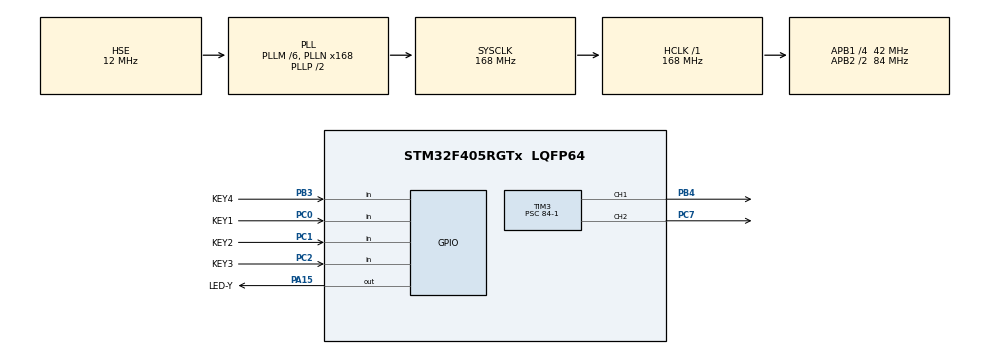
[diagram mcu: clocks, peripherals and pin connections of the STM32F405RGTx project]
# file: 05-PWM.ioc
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Mcu.Family=STM32F4
RCC.PLLSourceVirtual=RCC_PLLSOURCE_HSE
PH0-OSC_IN.Signal=RCC_OSC_IN
RCC.CortexFreq_Value=168000000
PC2.Signal=GPIO_Input
PC0.GPIO_Label=KEY1
PC0.Signal=GPIO_Input
RCC.APB1CLKDivider=RCC_HCLK_DIV4
RCC.SYSCLKSource=RCC_SYSCLKSOURCE_PLLCLK
ProjectManager.StackSize=0x400
PA13.Signal=SYS_JTMS-SWDIO
PA15.GPIO_Label=LED-Y
ProjectManager.TargetToolchain=MDK-ARM V5.27
RCC.HCLKFreq_Value=168000000
RCC.APB2TimFreq_Value=168000000
TIM3.Period=2500-1
PC7.Signal=S_TIM3_CH2
RCC.LSE_VALUE=32768
RCC.AHBFreq_Value=168000000
PH0-OSC_IN.Mode=HSE-External-Oscillator
TIM3.Channel-PWM\ Generation1\ CH1=TIM_CHANNEL_1
SH.S_TIM3_CH2.0=TIM3_CH2,PWM Generation2 CH2
RCC.HSE_VALUE=12000000
board=custom
PC1.GPIO_PuPd=GPIO_PULLUP
RCC.VCOOutputFreq_Value=336000000
NVIC.TIM3_IRQn=true\:0\:0\:false\:false\:true\:true\:true
PA15.PinState=GPIO_PIN_SET
RCC.APB2Freq_Value=84000000
PB3.GPIO_PuPd=GPIO_PULLUP
PA14.Mode=Serial_Wire
TIM3.Prescaler=84-1
PC1.GPIO_Label=KEY2
PH1-OSC_OUT.Signal=RCC_OSC_OUT
PC2.GPIO_PuPd=GPIO_PULLUP
SH.S_TIM3_CH1.0=TIM3_CH1,PWM Generation1 CH1
PA13.Mode=Serial_Wire
Mcu.Name=STM32F405RGTx
PH1-OSC_OUT.Mode=HSE-External-Oscillator
RCC.48MHZClocksFreq_Value=84000000
PB3.Signal=GPIO_Input
RCC.SYSCLKFreq_VALUE=168000000
Mcu.Package=LQFP64
PA15.GPIO_Speed=GPIO_SPEED_FREQ_HIGH
PA14.Signal=SYS_JTCK-SWCLK
PA15.Signal=GPIO_Output
ProjectManager.HeapSize=0x200
RCC.HSI_VALUE=16000000
NVIC.PriorityGroup=NVIC_PRIORITYGROUP_4
RCC.APB2CLKDivider=RCC_HCLK_DIV2
TIM3.Channel-PWM\ Generation2\ CH2=TIM_CHANNEL_2
RCC.PLLM=6
RCC.PLLN=168
PA15.GPIO_PuPd=GPIO_PULLDOWN
RCC.APB1TimFreq_Value=84000000
PC0.GPIO_PuPd=GPIO_PULLUP
RCC.APB1Freq_Value=42000000
PC2.GPIO_Label=KEY3
VP_TIM3_VS_ClockSourceINT.Mode=Internal
PC1.Signal=GPIO_Input
PB4.Signal=S_TIM3_CH1
PB3.GPIO_Label=KEY4

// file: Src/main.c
/* USER CODE BEGIN Header */
/**
  ******************************************************************************
  * @file           : main.c
  * @brief          : Main program body
  ******************************************************************************
  * @attention
  *
  * <h2><center>&copy; Copyright (c) 2020 STMicroelectronics.
  * All rights reserved.</center></h2>
  *
  * This software component is licensed by ST under BSD 3-Clause license,
  * the "License"; You may not use this file except in compliance with the
  * License. You may obtain a copy of the License at:
  *                        opensource.org/licenses/BSD-3-Clause
  *
  ******************************************************************************
  */
/* USER CODE END Header */

#include "main.h"
#include "tim.h"
#include "gpio.h"

void SystemClock_Config(void);

/* USER CODE BEGIN 0 */
void HAL_TIM_PeriodElapsedCallback(TIM_HandleTypeDef *htim)
{
	if(htim == &htim3)
		HAL_GPIO_TogglePin(LED_Y_GPIO_Port,LED_Y_Pin);
}
/* USER CODE END 0 */

int main(void)
{
  /* USER CODE BEGIN 1 */
	uint16_t pwm_led = 500;
	uint16_t pwm_servo = 500;
  /* USER CODE END 1 */

  /* MCU Configuration--------------------------------------------------------*/

  /* Reset of all peripherals, Initializes the Flash interface and the Systick. */
  HAL_Init();

  /* Configure the system clock */
  SystemClock_Config();

  /* Initialize all configured peripherals */
  MX_GPIO_Init();
  MX_TIM3_Init();
  /* USER CODE BEGIN 2 */
	HAL_TIM_Base_Start_IT(&htim3);
	HAL_TIM_PWM_Start(&htim3, TIM_CHANNEL_1);
	HAL_TIM_PWM_Start(&htim3, TIM_CHANNEL_2);
  /* USER CODE END 2 */

  /* Infinite loop */
  /* USER CODE BEGIN WHILE */
  while (1)
  {
		//LED灯光调节
		if(HAL_GPIO_ReadPin(KEY1_GPIO_Port,KEY1_Pin) == 0)
		{
			HAL_Delay(20);
			if(HAL_GPIO_ReadPin(KEY1_GPIO_Port,KEY1_Pin) == 0)
			{
				if(pwm_led < 2500)
					pwm_led += 100;
			}
		}
		if(HAL_GPIO_ReadPin(KEY2_GPIO_Port,KEY2_Pin) == 0)
		{
			HAL_Delay(20);
			if(HAL_GPIO_ReadPin(KEY2_GPIO_Port,KEY2_Pin) == 0)
			{
				if(pwm_led > 0)
					pwm_led -= 100;
			}
		}
		//舵机调节
		if(HAL_GPIO_ReadPin(KEY3_GPIO_Port,KEY3_Pin) == 0)
		{
			HAL_Delay(20);
			if(HAL_GPIO_ReadPin(KEY3_GPIO_Port,KEY3_Pin) == 0)
			{
				if(pwm_servo < 2500)
					pwm_servo += 100;
			}
		}
		if(HAL_GPIO_ReadPin(KEY4_GPIO_Port,KEY4_Pin) == 0)
		{
			HAL_Delay(20);
			if(HAL_GPIO_ReadPin(KEY4_GPIO_Port,KEY4_Pin) == 0)
			{
				if(pwm_servo > 0)
					pwm_servo -= 100;
			}
		}
    /* USER CODE END WHILE */

    /* USER CODE BEGIN 3 */
		__HAL_TIM_SET_COMPARE(&htim3,TIM_CHANNEL_1,pwm_led);	//改变LED的占空比
		__HAL_TIM_SET_COMPARE(&htim3,TIM_CHANNEL_2,pwm_servo);//改变舵机的占空比

  }
  /* USER CODE END 3 */
}

void SystemClock_Config(void)
{
  RCC_OscInitTypeDef RCC_OscInitStruct = {0};
  RCC_ClkInitTypeDef RCC_ClkInitStruct = {0};

  /** Configure the main internal regulator output voltage
  */
  __HAL_RCC_PWR_CLK_ENABLE();
  __HAL_PWR_VOLTAGESCALING_CONFIG(PWR_REGULATOR_VOLTAGE_SCALE1);
  /** Initializes the CPU, AHB and APB busses clocks
  */
  RCC_OscInitStruct.OscillatorType = RCC_OSCILLATORTYPE_HSE;
  RCC_OscInitStruct.HSEState = RCC_HSE_ON;
  RCC_OscInitStruct.PLL.PLLState = RCC_PLL_ON;
  RCC_OscInitStruct.PLL.PLLSource = RCC_PLLSOURCE_HSE;
  RCC_OscInitStruct.PLL.PLLM = 6;
  RCC_OscInitStruct.PLL.PLLN = 168;
  RCC_OscInitStruct.PLL.PLLP = RCC_PLLP_DIV2;
  RCC_OscInitStruct.PLL.PLLQ = 4;
  if (HAL_RCC_OscConfig(&RCC_OscInitStruct) != HAL_OK)
  {
    Error_Handler();
  }
  /** Initializes the CPU, AHB and APB busses clocks
  */
  RCC_ClkInitStruct.ClockType = RCC_CLOCKTYPE_HCLK|RCC_CLOCKTYPE_SYSCLK
                              |RCC_CLOCKTYPE_PCLK1|RCC_CLOCKTYPE_PCLK2;
  RCC_ClkInitStruct.SYSCLKSource = RCC_SYSCLKSOURCE_PLLCLK;
  RCC_ClkInitStruct.AHBCLKDivider = RCC_SYSCLK_DIV1;
  RCC_ClkInitStruct.APB1CLKDivider = RCC_HCLK_DIV4;
  RCC_ClkInitStruct.APB2CLKDivider = RCC_HCLK_DIV2;

  if (HAL_RCC_ClockConfig(&RCC_ClkInitStruct, FLASH_LATENCY_5) != HAL_OK)
  {
    Error_Handler();
  }
}

void Error_Handler(void)
{
}

/************************ (C) COPYRIGHT STMicroelectronics *****END OF FILE****/
